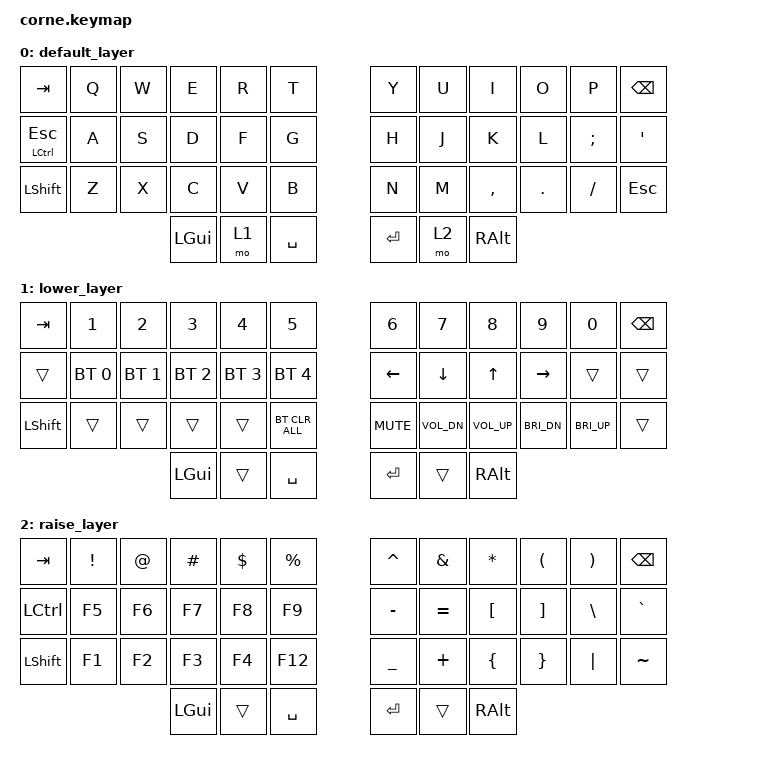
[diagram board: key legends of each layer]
/*
 * Copyright (c) 2020 The ZMK Contributors
 *
 * SPDX-License-Identifier: MIT
 */

#include <behaviors.dtsi>
#include <dt-bindings/zmk/keys.h>
#include <dt-bindings/zmk/bt.h>

/ {
        keymap {
                compatible = "zmk,keymap";

                default_layer {
// -----------------------------------------------------------------------------------------
// |  TAB |  Q  |  W  |  E  |  R  |  T  |   |  Y  |  U   |  I  |  O  |  P  | BSPC |
// | CTRL |  A  |  S  |  D  |  F  |  G  |   |  H  |  J   |  K  |  L  |  ;  |  '   |
// | SHFT |  Z  |  X  |  C  |  V  |  B  |   |  N  |  M   |  ,  |  .  |  /  | ESC  |
//                    | GUI | LWR | SPC |   | ENT | RSE  | ALT |
                        bindings = <
   &kp TAB       &kp Q &kp W &kp E &kp R &kp T     &kp Y   &kp U  &kp I     &kp O   &kp P    &kp BSPC
   &mt LCTRL ESC &kp A &kp S &kp D &kp F &kp G     &kp H   &kp J  &kp K     &kp L   &kp SEMI &kp SQT
   &kp LSHFT     &kp Z &kp X &kp C &kp V &kp B     &kp N   &kp M  &kp COMMA &kp DOT &kp FSLH &kp ESC
                             &kp LGUI &mo 1 &kp SPACE     &kp RET &mo 2 &kp RALT
                        >;
                };

                lower_layer {
// -----------------------------------------------------------------------------------------
// |  TAB |  1  |  2  |  3  |  4  |     5      |   |  6  |  7  |  8  |  9  |  0  | BSPC |
// |      | BT1 | BT2 | BT3 | BT4 |    BT5     |   | LFT | DWN |  UP | RGT |     |      |
// | SHFT |     |     |     |     | BT_CLR_ALL |   |MUTE |V_DN |V_UP |BR_DN|BR_UP|      |
//                    | GUI |     |    SPC     |   | ENT |     | ALT |
                        bindings = <
   &kp TAB   &kp N1       &kp N2       &kp N3       &kp N4       &kp N5           &kp N6       &kp N7       &kp N8       &kp N9           &kp N0           &kp BSPC
   &trans    &bt BT_SEL 0 &bt BT_SEL 1 &bt BT_SEL 2 &bt BT_SEL 3 &bt BT_SEL 4     &kp LEFT     &kp DOWN     &kp UP       &kp RIGHT        &trans           &trans
   &kp LSHFT &trans       &trans       &trans       &trans       &bt BT_CLR_ALL   &kp C_MUTE   &kp C_VOL_DN &kp C_VOL_UP &kp C_BRI_DN     &kp C_BRI_UP     &trans
                                       &kp LGUI     &trans       &kp SPACE        &kp RET      &trans       &kp RALT
                        >;
                };

                raise_layer {
// -----------------------------------------------------------------------------------------
// |  TAB |  !  |  @  |  #  |  $  |  %  |   |  ^  |  &  |  *  |  (  |  )  | BSPC |
// | CTRL | F5  | F6  | F7  | F8  | F9  |   |  -  |  =  |  [  |  ]  |  \  |  `   |
// | SHFT | F1  | F2  | F3  | F4  | F12 |   |  _  |  +  |  {  |  }  | "|" |  ~   |
//                    | GUI |     | SPC |   | ENT |     | ALT |
                        bindings = <
   &kp TAB   &kp EXCL &kp AT &kp HASH &kp DLLR &kp PRCNT     &kp CARET &kp AMPS  &kp ASTRK &kp LPAR &kp RPAR &kp BSPC
   &kp LCTRL &kp F5   &kp F6 &kp F7   &kp F8   &kp F9        &kp MINUS &kp EQUAL &kp LBKT  &kp RBKT &kp BSLH &kp GRAVE
   &kp LSHFT &kp F1   &kp F2 &kp F3   &kp F4   &kp F12       &kp UNDER &kp PLUS  &kp LBRC  &kp RBRC &kp PIPE &kp TILDE
                            &kp LGUI &trans   &kp SPACE     &kp RET   &trans    &kp RALT
                        >;
                };
        };
};
